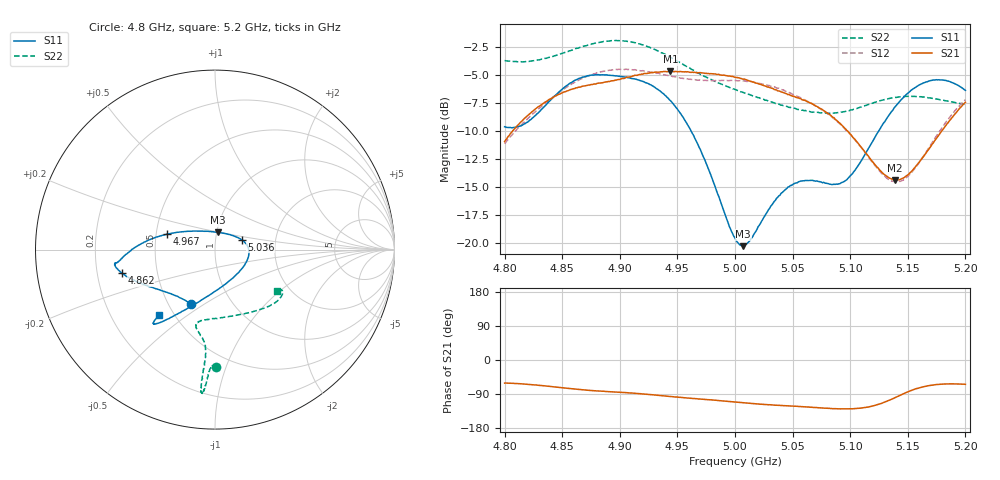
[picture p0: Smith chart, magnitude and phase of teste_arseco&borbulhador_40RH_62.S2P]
! Network Analyzer HP8722D
! Hewlett-Packard
! Data name: Linha & Wilkinson
! Saver's name: Rodrigo Anjos
! Comments: Teste da utilização de aquisição
! continua pelo VNA HP8722D
! Time and date: 15/4/2025 16:52
!  Frequency  S11  S21  S12  S22
# HZ  S  MA R 50
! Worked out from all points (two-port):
!   401 points, 4.8 GHz to 5.2 GHz, reference 50 ohm
!   highest |S21| = -4.64 dB at 4.944 GHz (marker M1); lowest = -14.4 dB at 5.139 GHz (marker M2)
!   |S21| within 3 dB of the highest: 4.832 GHz to 5.068 GHz (236.8 MHz wide, 4.78 % of centre); 5.197966 GHz to end of sweep
!   lowest |S11| = -20.3 dB at 5.007 GHz (marker M3), VSWR 1.21, Z = 50.5 + j9.76 ohm
!   |S11| at or under -10 dB: 4.962 GHz to 5.125 GHz (162.7 MHz wide, 3.23 % of centre)
!   |S22| runs from -8.4 to -1.9 dB; largest |S21 - S12| = 0.88
!   S11 on the Smith chart (normalised r, x): 4.8 GHz: 0.65, -0.44; 4.862 GHz: 0.31, -0.11; 4.967 GHz: 0.57, +0.11; 5.036 GHz: 1.34, +0.15; 5.2 GHz: 0.41, -0.39
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4.8e9  0.331 -114.0  0.2841 -61.0  0.2779 -175.1  0.6541 -89.6
4.819e9  0.3455 -133.9  0.3676 -64.0  0.3549 -173.5  0.6494 -91.3
4.862e9  0.536 -166.0  0.4942 -76.8  0.528 -176.7  0.7413 -93.7
4.867e9  0.5501 -167.9  0.5015 -78.4  0.5426 -177.7  0.7537 -93.9
4.901e9  0.5549 -172.4  0.5413 -85.3  0.5975 175.4  0.8018 -95.3
4.934e9  0.4818 -178.1  0.5805 -93.4  0.5736 171.7  0.7183 -95.7
4.944e9  0.4328 177.3  0.5858 -96.3  0.5581 171.9  0.676 -95.6
4.967e9  0.2814 162.3  0.5771 -102.2  0.5353 173.9  0.5784 -95.1
5e9  0.1052 105.9  0.5508 -110.9  0.5332 176.2  0.4858 -99.3
5.007e9  0.09679 81.7  0.5402 -112.9  0.5302 176.3  0.471 -101.1
5.014e9  0.1047 59.6  0.5282 -114.7  0.5262 176.1  0.458 -102.7
5.036e9  0.1582 20.5  0.4838 -119.3  0.4931 174.9  0.4193 -103.8
5.05e9  0.1825 6.0  0.4536 -121.7  0.4627 174.3  0.402 -100.4
5.067e9  0.1907 -12.3  0.4191 -124.7  0.4198 173.8  0.384 -91.6
5.085e9  0.1828 -40.8  0.3643 -128.4  0.3625 173.7  0.3811 -78.4
5.097e9  0.1918 -65.8  0.3188 -129.1  0.318 174.3  0.3887 -68.3
5.134e9  0.3754 -116.6  0.1953 -106.2  0.1914 -159.0  0.4427 -43.4
5.139e9  0.4062 -119.5  0.1912 -99.4  0.188 -151.1  0.4476 -41.1
5.151e9  0.472 -124.5  0.2035 -82.9  0.2011 -132.3  0.4531 -36.7
5.17e9  0.5325 -128.9  0.2705 -66.8  0.2749 -112.9  0.4445 -32.2
5.184e9  0.531 -130.1  0.3409 -63.2  0.3514 -107.3  0.4316 -31.2
5.2e9  0.4811 -130.6  0.4257 -64.3  0.4375 -106.2  0.4161 -33.5
